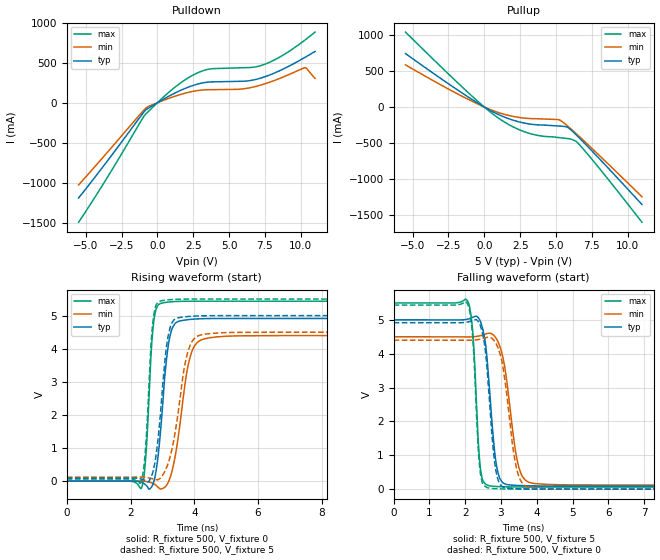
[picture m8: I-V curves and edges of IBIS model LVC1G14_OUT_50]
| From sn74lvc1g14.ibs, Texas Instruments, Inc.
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[Model]   LVC1G14_OUT_50
Model_type  Output
Vref =   0
Rref =   500
Cref =   50p
Vmeas =   2.5
| variable   typ   min   max
C_comp   8.95pF   5.46pF   12.36pF
| C_pullup   9.69pF   5.46pF   12.36pF
| C_pulldown   8.21pF   6.20pF   11.61pF
[Temperature Range]   40   100   -40
| Ambient temperature   25   85   -40
[Voltage range]   5   4.5   5.5
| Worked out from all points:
|   slope of the pulldown table from 0 to 0.75 V, typ, clamps not added: 9.73 ohm
|   slope of the pullup table from 0 to 0.75 V, typ, clamps not added: 9.16 ohm
|   rising waveform, R_fixture 500, V_fixture 0: 20-80 % time 270ps typ, 388ps min, 178ps max; typ from 0 V to 4.91 V
|   falling waveform, R_fixture 500, V_fixture 5: 20-80 % time 230ps typ, 325ps min, 154ps max; typ from 5 V to 0.091 V
|   rising waveform, R_fixture 500, V_fixture 5: 20-80 % time 282ps typ, 422ps min, 182ps max; typ from 0.091 V to 5 V
|   falling waveform, R_fixture 500, V_fixture 0: 20-80 % time 223ps typ, 318ps min, 153ps max; typ from 4.92 V to 0 V
[Pulldown]
| LVC1G14_OUT_50
|   Voltage   I(typ)   I(min)   I(max)
-5.5V     -1.19A     -1.026A    -1.493A
-3.615V   -756.5mA   -644.9mA   -968mA
-860mV    -99.61mA   -76.72mA   -149.6mA
1.145V    114mA      76.72mA    182.7mA
2.335V    206.5mA    136.8mA    330.4mA
3.39V     254.8mA    162mA      411mA
5.9V      268mA      171.6mA    436.9mA
6.79V     288.1mA    200.2mA    446mA
7.59V     330.6mA    241.7mA    487.6mA
8.82V     424.5mA    324.7mA    600.5mA
10.29V    565.4mA    436.9mA    781.9mA
11V       641.1mA    304.6mA    882.6mA
[Pullup]
| LVC1G14_OUT_50
|   Voltage   I(typ)   I(min)   I(max)
-5.5V     745.2mA    587.5mA    1.044A
-1.18V    147.6mA    112.6mA    211.7mA
1.04V     -109.2mA   -79.97mA   -161.6mA
2.045V    -185.4mA   -131.8mA   -280mA
3.05V     -232.7mA   -158.7mA   -361.3mA
3.945V    -250.5mA   -165.3mA   -402.5mA
5.295V    -265.8mA   -184.8mA   -427.6mA
5.83V     -285.1mA   -267.5mA   -440mA
6.335V    -372.8mA   -357.2mA   -470.5mA
6.54V     -412.8mA   -394.7mA   -503.8mA
8.12V     -739mA     -692.4mA   -876.8mA
11V       -1.358A    -1.25A     -1.605A
[Ramp]
| LVC1G14_OUT_50
| variable   typ   min   max
dV/dt_r   3.09/2.88E-10   2.78/4.20E-10   3.40/1.91E-10
dV/dt_f   3.01/2.39E-10   2.69/3.42E-10   3.33/1.65E-10
R_load = 500
[Rising Waveform]
| LVC1G14_OUT_50
R_fixture =   500
C_fixture =   0
L_fixture =   0
V_fixture =   0
V_fixture_min = 0
V_fixture_max = 0
|   Time   V(typ)   V(min)   V(max)
0s        185.3pV    4.77nV     2.097nV
2.34ns    -33.37mV   2.765mV    -212.7mV
2.475ns   -112.2mV   -7.605mV   690.9mV
2.645ns   -194.1mV   -45.52mV   3.847V
2.74ns    18.84mV    -84.18mV   4.904V
3.19ns    4.132V     -20.15mV   5.41V
3.41ns    4.775V     802.9mV    5.426V
3.905ns   4.889V     3.862V     5.434V
4.705ns   4.913V     4.358V     5.435V
50ns      4.914V     4.397V     5.435V
[Falling Waveform]
| LVC1G14_OUT_50
R_fixture =   500
C_fixture =   0
L_fixture =   0
V_fixture =   5
V_fixture_min = 4.5
V_fixture_max = 5.5
|   Time   V(typ)   V(min)   V(max)
0s        5V         4.5V       5.5V
2.075ns   5.023V     4.497V     5.537V
2.21ns    5.077V     4.501V     4.67V
2.435ns   4.925V     4.536V     536.6mV
2.585ns   4.133V     4.587V     139.2mV
2.78ns    1.588V     4.562V     84.66mV
2.975ns   300.6mV    4.196V     73.87mV
3.505ns   108.7mV    629.8mV    64.86mV
3.99ns    95.88mV    160.5mV    63.37mV
50ns      91.34mV    120.7mV    62.82mV
[Rising Waveform]
| LVC1G14_OUT_50
R_fixture =   500
C_fixture =   0
L_fixture =   0
V_fixture =   5
V_fixture_min = 4.5
V_fixture_max = 5.5
|   Time   V(typ)   V(min)   V(max)
0s        91.33mV    120.7mV    62.82mV
2.325ns   66.78mV    123.7mV    -36.39mV
2.465ns   15.48mV    115.1mV    916.9mV
2.635ns   98.48mV    85.46mV    4.006V
2.73ns    390.5mV    62.47mV    5.018V
3.16ns    4.272V     484mV      5.475V
3.36ns    4.867V     1.257V     5.49V
3.83ns    4.974V     4V         5.499V
4.555ns   4.998V     4.463V     5.5V
50ns      5V         4.5V       5.5V
[Falling Waveform]
| LVC1G14_OUT_50
R_fixture =   500
C_fixture =   0
L_fixture =   0
V_fixture =   0
V_fixture_min = 0
V_fixture_max = 0
|   Time   V(typ)   V(min)   V(max)
0s        4.917V     4.401V     5.437V
2.065ns   4.937V     4.399V     5.469V
2.21ns    4.986V     4.402V     4.491V
2.42ns    4.837V     4.431V     509.8mV
2.57ns    4.026V     4.472V     71.64mV
2.72ns    1.99V      4.471V     23.25mV
2.985ns   132.4mV    3.954V     8.849mV
3.455ns   14.79mV    528.3mV    2.052mV
3.945ns   3.886mV    30.65mV    555.5uV
50ns      10.48uV    16.63uV    6.346uV
